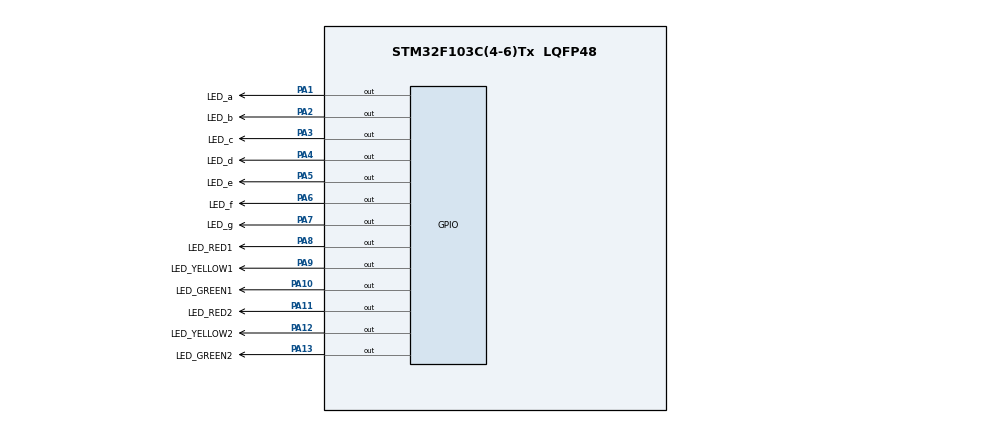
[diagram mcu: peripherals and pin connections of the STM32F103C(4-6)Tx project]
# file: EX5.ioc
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Mcu.Family=STM32F1
Mcu.Name=STM32F103C(4-6)Tx
Mcu.Package=LQFP48
NVIC.PriorityGroup=NVIC_PRIORITYGROUP_4
PA1.GPIO_Label=LED_a
PA1.Signal=GPIO_Output
PA10.GPIO_Label=LED_GREEN1
PA10.Signal=GPIO_Output
PA11.GPIO_Label=LED_RED2
PA11.Signal=GPIO_Output
PA12.GPIO_Label=LED_YELLOW2
PA12.Signal=GPIO_Output
PA13.GPIO_Label=LED_GREEN2
PA13.Signal=GPIO_Output
PA2.GPIO_Label=LED_b
PA2.Signal=GPIO_Output
PA3.GPIO_Label=LED_c
PA3.Signal=GPIO_Output
PA4.GPIO_Label=LED_d
PA4.Signal=GPIO_Output
PA5.GPIO_Label=LED_e
PA5.Signal=GPIO_Output
PA6.GPIO_Label=LED_f
PA6.Signal=GPIO_Output
PA7.GPIO_Label=LED_g
PA7.Signal=GPIO_Output
PA8.GPIO_Label=LED_RED1
PA8.Signal=GPIO_Output
PA9.GPIO_Label=LED_YELLOW1
PA9.Signal=GPIO_Output
ProjectManager.HeapSize=0x200
ProjectManager.StackSize=0x400
ProjectManager.TargetToolchain=STM32CubeIDE
RCC.APB1Freq_Value=8000000
RCC.APB2Freq_Value=8000000
VP_SYS_VS_ND.Mode=No_Debug
board=custom

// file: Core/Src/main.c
/* USER CODE BEGIN Header */
/**
  ******************************************************************************
  * @file           : main.c
  * @brief          : Main program body
  ******************************************************************************
  * @attention
  *
  * <h2><center>&copy; Copyright (c) 2023 STMicroelectronics.
  * All rights reserved.</center></h2>
  *
  * This software component is licensed by ST under BSD 3-Clause license,
  * the "License"; You may not use this file except in compliance with the
  * License. You may obtain a copy of the License at:
  *                        opensource.org/licenses/BSD-3-Clause
  *
  ******************************************************************************
  */
/* USER CODE END Header */
#include "main.h"

void SystemClock_Config(void);
static void MX_GPIO_Init(void);

/* USER CODE BEGIN 0 */
void display7SEG(int num){
  	char led7seg[10] = {0xC0, 0xF9, 0xA4, 0xB0, 0x99, 0x92, 0x82, 0xF8, 0x80, 0x90};
  	for (int i=0; i < 7; i++){
  		HAL_GPIO_WritePin(GPIOA, LED_a_Pin<<i, (led7seg[num]>>i) & 1);
  	}
 }
/* USER CODE END 0 */

int main(void)
{

  /* MCU Configuration--------------------------------------------------------*/

  /* Reset of all peripherals, Initializes the Flash interface and the Systick. */
  HAL_Init();

  /* Configure the system clock */
  SystemClock_Config();

  /* Initialize all configured peripherals */
  MX_GPIO_Init();
  /* USER CODE BEGIN 2 */
  enum TrafficLightState
    {
    	 RED1_GREEN2,
    	 RED1_YELLOW2,
    	 GREEN1_RED2,
    	 YELLOW1_RED2,
    };
  int counter = 3;
  int light = 5;
  enum TrafficLightState currentState = RED1_GREEN2;
  //Set all LEDs off
  HAL_GPIO_WritePin(LED_RED1_GPIO_Port, LED_RED1_Pin, SET);
  HAL_GPIO_WritePin(LED_YELLOW1_GPIO_Port, LED_YELLOW1_Pin, SET);
  HAL_GPIO_WritePin(LED_GREEN1_GPIO_Port, LED_GREEN1_Pin, SET);
  HAL_GPIO_WritePin(LED_RED2_GPIO_Port, LED_RED2_Pin, SET);
  HAL_GPIO_WritePin(LED_YELLOW2_GPIO_Port, LED_YELLOW2_Pin, SET);
  HAL_GPIO_WritePin(LED_GREEN2_GPIO_Port, LED_GREEN2_Pin, SET);
  /* USER CODE END 2 */

  /* Infinite loop */
  while (1)
  {
	  display7SEG(light);
	  switch (currentState){
	  	  case RED1_GREEN2:
	  		  HAL_GPIO_WritePin(LED_RED1_GPIO_Port, LED_RED1_Pin, RESET);
	  		  HAL_GPIO_WritePin(LED_GREEN2_GPIO_Port, LED_GREEN2_Pin, RESET);
	  		  HAL_GPIO_WritePin(LED_YELLOW1_GPIO_Port, LED_YELLOW1_Pin, SET);
	  		  HAL_GPIO_WritePin(LED_RED2_GPIO_Port, LED_RED2_Pin, SET);
	  		  counter--;
	  		  light--;
	  		  if (counter <= 0){
	  			  currentState = RED1_YELLOW2;
	  			  counter = 2;
	  		  }
	  		  break;
	  	  case RED1_YELLOW2:
	  		  HAL_GPIO_WritePin(LED_GREEN2_GPIO_Port, LED_GREEN2_Pin, SET);
	  		  HAL_GPIO_WritePin(LED_YELLOW2_GPIO_Port, LED_YELLOW2_Pin, RESET);
	  		  counter--;
	  		  light--;
	  		  if (counter <= 0){
	  			  currentState = GREEN1_RED2;
	  			  counter = 3;
	  			  light = 3;
	  		  }
	  		  break;
	  	  case GREEN1_RED2:
	  		  HAL_GPIO_WritePin(LED_RED1_GPIO_Port, LED_RED1_Pin, SET);
	  		  HAL_GPIO_WritePin(LED_GREEN1_GPIO_Port, LED_GREEN1_Pin, RESET);
	  		  HAL_GPIO_WritePin(LED_YELLOW2_GPIO_Port, LED_YELLOW2_Pin, SET);
	  		  HAL_GPIO_WritePin(LED_RED2_GPIO_Port, LED_RED2_Pin, RESET);
	  		  counter--;
	  		  light--;
	  		  if (counter <= 0){
	  			  currentState = YELLOW1_RED2;
	  			  counter = 2;
	  			  light = 2;
	  		  }
	  		  break;
	  	  case YELLOW1_RED2:
	  		  HAL_GPIO_WritePin(LED_GREEN1_GPIO_Port, LED_GREEN1_Pin, SET);
	  		  HAL_GPIO_WritePin(LED_YELLOW1_GPIO_Port, LED_YELLOW1_Pin, RESET);
	  		  counter--;
	  		  light--;
	  		  if (counter <= 0){
	  			  currentState = RED1_GREEN2;
	  			  counter = 3;
	  			  light = 5;
	  		  }
	  		  break;
	  }
	  HAL_Delay(1000);
  }
}

void SystemClock_Config(void)
{
  RCC_OscInitTypeDef RCC_OscInitStruct = {0};
  RCC_ClkInitTypeDef RCC_ClkInitStruct = {0};

  /** Initializes the RCC Oscillators according to the specified parameters
  * in the RCC_OscInitTypeDef structure.
  */
  RCC_OscInitStruct.OscillatorType = RCC_OSCILLATORTYPE_HSI;
  RCC_OscInitStruct.HSIState = RCC_HSI_ON;
  RCC_OscInitStruct.HSICalibrationValue = RCC_HSICALIBRATION_DEFAULT;
  RCC_OscInitStruct.PLL.PLLState = RCC_PLL_NONE;
  if (HAL_RCC_OscConfig(&RCC_OscInitStruct) != HAL_OK)
  {
    Error_Handler();
  }
  /** Initializes the CPU, AHB and APB buses clocks
  */
  RCC_ClkInitStruct.ClockType = RCC_CLOCKTYPE_HCLK|RCC_CLOCKTYPE_SYSCLK
                              |RCC_CLOCKTYPE_PCLK1|RCC_CLOCKTYPE_PCLK2;
  RCC_ClkInitStruct.SYSCLKSource = RCC_SYSCLKSOURCE_HSI;
  RCC_ClkInitStruct.AHBCLKDivider = RCC_SYSCLK_DIV1;
  RCC_ClkInitStruct.APB1CLKDivider = RCC_HCLK_DIV1;
  RCC_ClkInitStruct.APB2CLKDivider = RCC_HCLK_DIV1;

  if (HAL_RCC_ClockConfig(&RCC_ClkInitStruct, FLASH_LATENCY_0) != HAL_OK)
  {
    Error_Handler();
  }
}

static void MX_GPIO_Init(void)
{
  GPIO_InitTypeDef GPIO_InitStruct = {0};

  /* GPIO Ports Clock Enable */
  __HAL_RCC_GPIOA_CLK_ENABLE();

  /*Configure GPIO pin Output Level */
  HAL_GPIO_WritePin(GPIOA, LED_a_Pin|LED_b_Pin|LED_c_Pin|LED_d_Pin
                          |LED_e_Pin|LED_f_Pin|LED_g_Pin|LED_RED1_Pin
                          |LED_YELLOW1_Pin|LED_GREEN1_Pin|LED_RED2_Pin|LED_YELLOW2_Pin
                          |LED_GREEN2_Pin, GPIO_PIN_RESET);

  /*Configure GPIO pins : LED_a_Pin LED_b_Pin LED_c_Pin LED_d_Pin
                           LED_e_Pin LED_f_Pin LED_g_Pin LED_RED1_Pin
                           LED_YELLOW1_Pin LED_GREEN1_Pin LED_RED2_Pin LED_YELLOW2_Pin
                           LED_GREEN2_Pin */
  GPIO_InitStruct.Pin = LED_a_Pin|LED_b_Pin|LED_c_Pin|LED_d_Pin
                          |LED_e_Pin|LED_f_Pin|LED_g_Pin|LED_RED1_Pin
                          |LED_YELLOW1_Pin|LED_GREEN1_Pin|LED_RED2_Pin|LED_YELLOW2_Pin
                          |LED_GREEN2_Pin;
  GPIO_InitStruct.Mode = GPIO_MODE_OUTPUT_PP;
  GPIO_InitStruct.Pull = GPIO_NOPULL;
  GPIO_InitStruct.Speed = GPIO_SPEED_FREQ_LOW;
  HAL_GPIO_Init(GPIOA, &GPIO_InitStruct);

}

void Error_Handler(void)
{
  __disable_irq();
  while (1)
  {
  }
}

/************************ (C) COPYRIGHT STMicroelectronics *****END OF FILE****/
